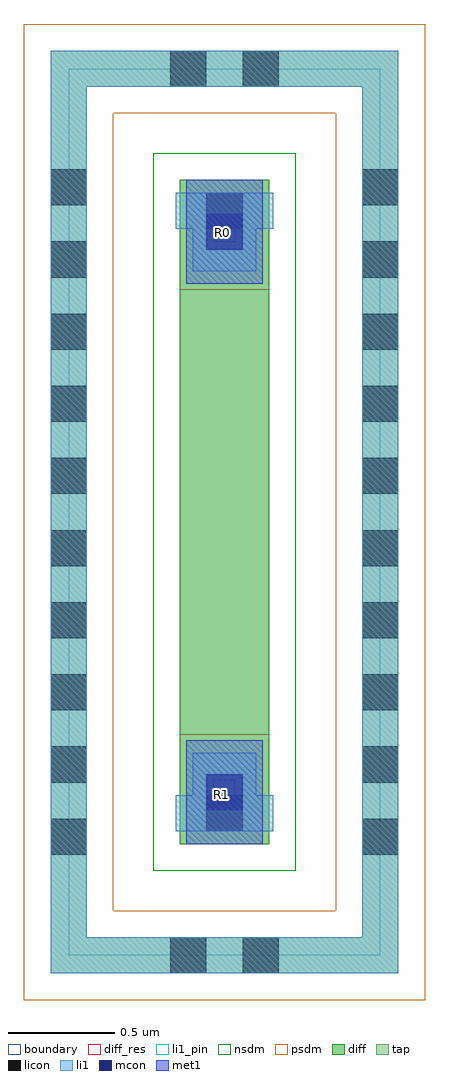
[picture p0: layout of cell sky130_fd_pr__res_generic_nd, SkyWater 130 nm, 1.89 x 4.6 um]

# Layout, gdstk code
import gdstk
lib = gdstk.Library(unit=1e-6, precision=1e-09)
def R(c, l, rs):  # rectangles x0, y0, x1, y1
    for r in rs: c.add(gdstk.rectangle(r[:2], r[2:], *l))
def A(c, l, x, y, w, h, nx, ny, dx, dy):  # array of equal rectangles
    R(c, l, [(x+i*dx, y+j*dy, x+i*dx+w, y+j*dy+h) for i in range(nx) for j in range(ny)])
diff_res = (65, 13)
diff = (65, 20)
tap = (65, 44)
licon = (66, 44)
li1_pin = (67, 16)
li1 = (67, 20)
mcon = (67, 44)
met1 = (68, 20)
nsdm = (93, 44)
psdm = (94, 20)
boundary = (235, 4)

sky130_fd_pr__res_generi = lib.new_cell('sky130_fd_pr__res_generic_nd')
R(sky130_fd_pr__res_generi, diff_res, [(1.765,27.56,2.185,29.66)])
R(sky130_fd_pr__res_generi, diff, [(1.765,27.045,2.185,30.175)])
R(sky130_fd_pr__res_generi, tap, [(1.155,26.435,2.795,26.605), (1.155,26.605,1.325,30.615), (2.625,26.605,2.795,30.615), (1.155,30.615,2.795,30.785)])
A(sky130_fd_pr__res_generi, licon, 1.155, 26.995, 0.17, 0.17, 1, 10, 0, 0.34)
A(sky130_fd_pr__res_generi, licon, 2.625, 26.995, 0.17, 0.17, 1, 10, 0, 0.34)
R(sky130_fd_pr__res_generi, licon, [(1.72,26.435,1.89,26.605), (2.06,26.435,2.23,26.605), (1.89,27.105,2.06,27.275), (1.89,29.945,2.06,30.115), (1.72,30.615,1.89,30.785), (2.06,30.615,2.23,30.785)])
R(sky130_fd_pr__res_generi, li1_pin, [(1.922,27.233,2.023,27.348), (1.924,29.883,2.025,29.998)])
R(sky130_fd_pr__res_generi, li1, [(1.155,26.435,2.795,26.605), (1.155,26.605,1.325,30.615), (2.625,26.605,2.795,30.615), (1.745,27.105,2.205,27.275), (1.825,27.275,2.125,27.475), (1.825,29.745,2.125,29.945), (1.745,29.945,2.205,30.115), (1.155,30.615,2.795,30.785)])
R(sky130_fd_pr__res_generi, mcon, [(1.89,27.205,2.06,27.375), (1.89,29.845,2.06,30.015)])
R(sky130_fd_pr__res_generi, met1, [(1.795,27.045,2.155,27.535), (1.795,29.685,2.155,30.175)])
R(sky130_fd_pr__res_generi, nsdm, [(1.64,26.92,2.31,30.3)])
R(sky130_fd_pr__res_generi, psdm, [(1.03,26.31,2.92,26.73), (1.03,26.73,1.45,30.49), (2.5,26.73,2.92,30.49), (1.03,30.49,2.92,30.91)])
R(sky130_fd_pr__res_generi, boundary, [(1.24,26.52,2.71,30.7)])
sky130_fd_pr__res_generi.add(gdstk.Label('R0', (1.965,29.929), layer=67, texttype=5))
sky130_fd_pr__res_generi.add(gdstk.Label('R1', (1.963,27.279), layer=67, texttype=5))

lib.write_gds('sky130_fd_pr__res_generic_nd.gds')
